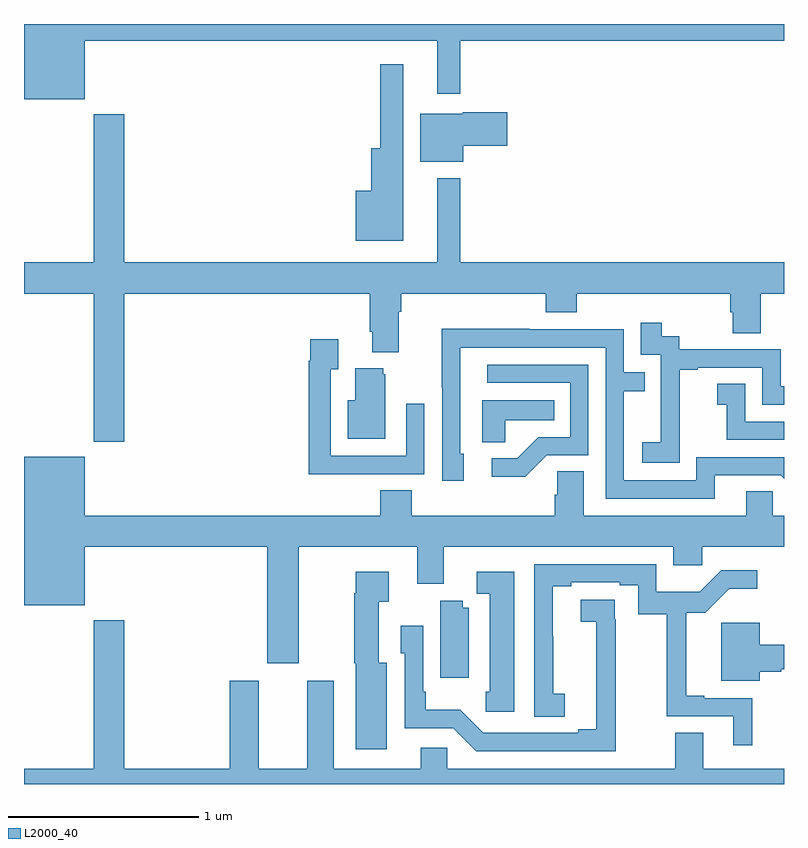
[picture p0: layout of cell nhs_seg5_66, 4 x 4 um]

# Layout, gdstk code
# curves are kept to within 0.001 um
import gdstk
lib = gdstk.Library(unit=1e-6, precision=1e-09)
def P(c, l, *ps):  # polygons
    for p in ps: c.add(gdstk.Polygon(p, *l))
L2000_40 = (2000, 40)

nhs_seg5_66 = lib.new_cell('nhs_seg5_66')
P(nhs_seg5_66, L2000_40, [(113.32,904.712),(115.175,904.712),(115.175,904.431),(115.297,904.431),(115.297,904.712),(117,904.712),(117,904.799),(113,904.799),(113,904.403),(113.32,904.403)],
  [(114.997,904.588),(114.876,904.588),(114.876,904.144),(114.827,904.144),(114.827,903.922),(114.746,903.922),(114.746,903.659),(114.997,903.659)],
  [(115.312,904.157),(115.543,904.157),(115.543,904.335),(115.308,904.335),(115.308,904.327),(115.085,904.327),(115.085,904.073),(115.312,904.073)],
  [(113.528,903.38),(114.821,903.38),(114.821,903.178),(114.833,903.178),(114.833,903.071),(114.973,903.071),(114.973,903.284),(114.986,903.284),(114.986,903.38),(115.745,903.38),(115.745,903.281),(115.91,903.281),(115.91,903.38),(116.717,903.38),(116.717,903.282),(116.729,903.282),(116.729,903.172),(116.877,903.172),(116.877,903.38),(117,903.38),(117,903.544),(115.297,903.544),(115.297,903.988),(115.175,903.988),(115.175,903.544),(113.528,903.544),(113.528,904.324),(113.368,904.324),(113.368,903.544),(113,903.544),(113,903.38),(113.368,903.38),(113.368,902.601),(113.528,902.601)],
  [(116.451,902.695),(116.45,902.695),(116.45,902.979),(116.545,902.979),(116.545,902.991),(116.886,902.991),(116.886,902.796),(117,902.796),(117,902.892),(116.982,902.892),(116.982,903.087),(116.448,903.087),(116.448,903.156),(116.356,903.156),(116.356,903.226),(116.247,903.226),(116.247,903.057),(116.352,903.057),(116.352,902.828),(116.351,902.828),(116.351,902.599),(116.253,902.599),(116.253,902.489),(116.451,902.489)],
  [(116.635,902.424),(116.982,902.424),(117,902.406),(117,902.52),(116.538,902.52),(116.538,902.397),(116.157,902.397),(116.157,902.866),(116.267,902.866),(116.267,902.967),(116.157,902.967),(116.157,903.192),(115.661,903.192),(115.661,903.194),(115.198,903.194),(115.198,902.887),(115.2,902.887),(115.2,902.394),(115.315,902.394),(115.315,902.538),(115.296,902.538),(115.296,903.096),(116.061,903.096),(116.061,902.301),(116.635,902.301)],
  [(114.791,902.43),(115.107,902.43),(115.107,902.8),(115.011,902.8),(115.011,902.526),(114.615,902.526),(114.615,902.983),(114.655,902.983),(114.655,903.139),(114.507,903.139),(114.507,903.026),(114.499,903.026),(114.499,902.429),(114.791,902.429)],
  [(115.752,902.529),(115.971,902.529),(115.971,903.006),(115.437,903.006),(115.437,902.91),(115.875,902.91),(115.875,902.625),(115.706,902.625),(115.595,902.514),(115.461,902.514),(115.461,902.417),(115.639,902.417)],
  [(114.901,902.955),(114.89,902.955),(114.89,902.986),(114.743,902.986),(114.743,902.818),(114.704,902.818),(114.704,902.615),(114.901,902.615)],
  [(117,902.706),(116.796,902.706),(116.796,902.905),(116.649,902.905),(116.649,902.795),(116.698,902.795),(116.698,902.61),(117,902.61)],
  [(115.533,902.714),(115.79,902.714),(115.79,902.818),(115.412,902.818),(115.412,902.599),(115.533,902.599)],
  [(114.445,902.048),(115.07,902.048),(115.07,901.854),(115.21,901.854),(115.21,902.048),(116.417,902.048),(116.417,901.95),(116.569,901.95),(116.569,902.048),(117,902.048),(117,902.212),(116.94,902.212),(116.94,902.339),(116.801,902.339),(116.801,902.212),(115.945,902.212),(115.945,902.444),(115.806,902.444),(115.806,902.321),(115.793,902.321),(115.793,902.212),(115.04,902.212),(115.04,902.345),(114.875,902.345),(114.875,902.212),(113.32,902.212),(113.32,902.521),(113,902.521),(113,901.739),(113.32,901.739),(113.32,902.048),(114.281,902.048),(114.281,901.434),(114.445,901.434)],
  [(116.832,901.251),(116.581,901.251),(116.581,901.264),(116.486,901.264),(116.486,901.701),(116.585,901.701),(116.711,901.826),(116.86,901.826),(116.86,901.923),(116.67,901.923),(116.557,901.81),(116.328,901.81),(116.328,901.956),(115.686,901.956),(115.686,901.153),(115.846,901.153),(115.846,901.273),(115.785,901.273),(115.785,901.577),(115.783,901.577),(115.783,901.84),(115.879,901.84),(115.879,901.86),(116.135,901.86),(116.135,901.846),(116.232,901.846),(116.232,901.693),(116.383,901.693),(116.383,901.155),(116.732,901.155),(116.732,901.002),(116.832,901.002)],
  [(114.91,901.438),(114.868,901.438),(114.868,901.759),(114.919,901.759),(114.919,901.915),(114.746,901.915),(114.746,901.802),(114.739,901.802),(114.739,901.434),(114.746,901.434),(114.746,900.981),(114.91,900.981)],
  [(115.579,901.915),(115.383,901.915),(115.383,901.8),(115.451,901.8),(115.451,901.284),(115.429,901.284),(115.429,901.179),(115.579,901.179)],
  [(116.114,901.667),(116.108,901.667),(116.108,901.769),(115.929,901.769),(115.929,901.654),(116.011,901.654),(116.012,901.088),(115.916,901.088),(115.916,901.068),(115.416,901.068),(115.295,901.189),(115.114,901.189),(115.114,901.285),(115.101,901.285),(115.101,901.633),(114.984,901.633),(114.984,901.488),(115.005,901.488),(115.005,901.092),(115.26,901.092),(115.38,900.972),(116.114,900.972)],
  [(115.342,901.726),(115.31,901.726),(115.31,901.763),(115.19,901.763),(115.19,901.359),(115.342,901.359)],
  [(117,900.88),(116.575,900.88),(116.575,901.07),(116.428,901.07),(116.428,900.88),(115.227,900.88),(115.227,900.99),(115.088,900.99),(115.088,900.88),(114.631,900.88),(114.631,901.342),(114.491,901.342),(114.491,900.88),(114.235,900.88),(114.235,901.342),(114.083,901.342),(114.083,900.88),(113.528,900.88),(113.528,901.66),(113.368,901.66),(113.368,900.88),(113,900.88),(113,900.799),(117,900.799)],
  [(116.872,901.391),(116.985,901.391),(116.985,901.403),(117,901.403),(117,901.533),(116.872,901.533),(116.872,901.648),(116.669,901.648),(116.669,901.343),(116.872,901.343)])

lib.write_gds('nhs_seg5_66.gds')
